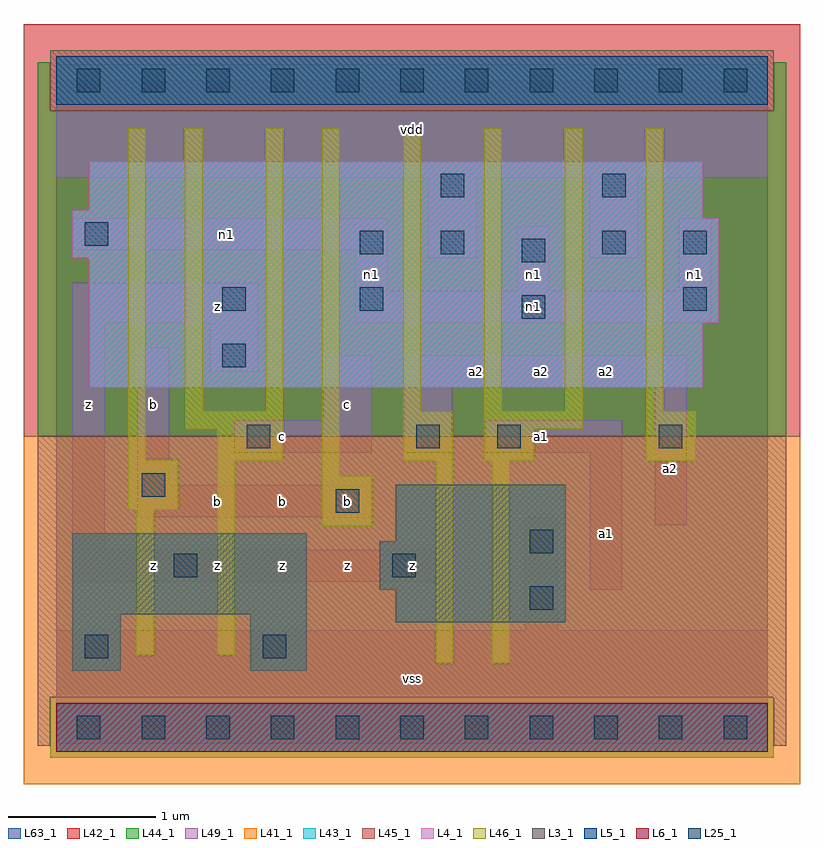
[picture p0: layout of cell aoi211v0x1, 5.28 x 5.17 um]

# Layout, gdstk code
import gdstk
lib = gdstk.Library(unit=1e-6, precision=1e-09)
def R(c, l, rs):  # rectangles x0, y0, x1, y1
    for r in rs: c.add(gdstk.rectangle(r[:2], r[2:], *l))
def A(c, l, x, y, w, h, nx, ny, dx, dy):  # array of equal rectangles
    R(c, l, [(x+i*dx, y+j*dy, x+i*dx+w, y+j*dy+h) for i in range(nx) for j in range(ny)])
L3_1 = (3, 1)
L4_1 = (4, 1)
L5_1 = (5, 1)
L6_1 = (6, 1)
L25_1 = (25, 1)
L41_1 = (41, 1)
L42_1 = (42, 1)
L43_1 = (43, 1)
L44_1 = (44, 1)
L45_1 = (45, 1)
L46_1 = (46, 1)
L49_1 = (49, 1)
L63_1 = (63, 1)

aoi211v0x1 = lib.new_cell('aoi211v0x1')
R(aoi211v0x1, L3_1, [(0.11,0.385,0.44,0.77), (1.32,0.385,1.705,0.77), (2.31,0.715,3.465,0.935), (0.11,0.77,1.705,1.32), (2.2,0.935,3.465,1.265), (2.31,1.265,3.465,1.65)])
R(aoi211v0x1, L4_1, [(0.22,2.31,4.4,2.75), (0.22,2.75,4.51,3.19), (0.11,3.19,4.51,3.465), (0.11,3.465,4.4,3.52), (0.22,3.52,4.4,3.85)])
R(aoi211v0x1, L5_1, [(0,4.235,4.84,4.565)])
R(aoi211v0x1, L6_1, [(0,-0.165,4.84,0.165)])
A(aoi211v0x1, L25_1, 0.14, -0.08, 0.16, 0.16, 11, 2, 0.44, 4.4)
R(aoi211v0x1, L25_1, [(0.195,0.47,0.355,0.63), (1.405,0.47,1.565,0.63), (3.22,0.8,3.38,0.96), (0.8,1.02,0.96,1.18), (2.285,1.02,2.445,1.18), (3.22,1.185,3.38,1.345), (1.9,1.46,2.06,1.62), (0.58,1.57,0.74,1.73), (1.295,1.9,1.455,2.06), (2.45,1.9,2.61,2.06), (3,1.9,3.16,2.06), (4.1,1.9,4.26,2.06), (1.13,2.45,1.29,2.61), (3.165,2.78,3.325,2.94), (1.13,2.835,1.29,2.995), (2.065,2.835,2.225,2.995), (4.265,2.835,4.425,2.995), (3.165,3.165,3.325,3.325), (2.065,3.22,2.225,3.38), (2.615,3.22,2.775,3.38), (3.715,3.22,3.875,3.38), (4.265,3.22,4.425,3.38), (0.195,3.275,0.355,3.435), (2.615,3.605,2.775,3.765), (3.715,3.605,3.875,3.765)])
R(aoi211v0x1, L41_1, [(-0.22,-0.385,5.06,1.98)])
R(aoi211v0x1, L42_1, [(-0.22,1.98,5.06,4.785)])
R(aoi211v0x1, L43_1, [(0,-0.165,4.84,0.165), (0.11,0.385,0.44,0.77), (1.32,0.385,1.705,0.77), (2.31,0.715,3.465,0.935), (0.11,0.77,1.705,1.32), (2.2,0.935,3.465,1.265), (2.31,1.265,3.465,1.65), (0.22,2.31,4.4,2.75), (0.22,2.75,4.51,3.19), (0.11,3.19,4.51,3.465), (0.11,3.465,4.4,3.52), (0.22,3.52,4.4,3.85), (0,4.235,4.84,4.565)])
R(aoi211v0x1, L44_1, [(-0.04,-0.205,4.88,0.205), (-0.125,1.98,4.965,4.195), (-0.125,4.195,-0.04,4.525), (4.88,4.195,4.965,4.525)])
R(aoi211v0x1, L45_1, [(-0.125,-0.125,-0.04,0.205), (4.88,-0.125,4.965,0.205), (-0.125,0.205,4.965,1.98), (-0.04,4.195,4.88,4.605)])
A(aoi211v0x1, L46_1, 2.36, 2.15, 0.12, 1.925, 4, 1, 0.55, 0)
R(aoi211v0x1, L46_1, [(2.58,0.435,2.7,1.81), (2.965,0.435,3.085,1.81), (0.545,0.49,0.665,1.48), (1.095,0.49,1.215,1.81), (1.81,1.37,2.15,1.71), (0.49,1.48,0.83,1.82), (1.81,1.71,1.93,4.075), (1.095,1.81,1.545,2.03), (2.36,1.81,2.7,2.15), (2.91,1.81,3.25,2.03), (4.01,1.81,4.35,2.15), (0.49,1.82,0.61,4.075), (0.875,2.03,1.545,2.15), (2.91,2.03,3.58,2.15), (0.875,2.15,0.995,4.075), (1.425,2.15,1.545,4.075)])
R(aoi211v0x1, L49_1, [(0,-0.11,4.84,0.66), (3.19,0.66,3.41,1.43), (3.63,0.935,3.85,1.87), (0.11,0.99,2.585,1.21), (0.11,1.21,0.33,2.75), (4.07,1.375,4.29,2.31), (0.55,1.43,2.145,1.65), (0.55,1.65,0.77,2.585), (1.21,1.87,2.145,2.09), (2.365,1.87,2.695,2.31), (2.915,1.87,3.85,2.09), (1.815,2.09,2.145,2.53), (2.365,2.31,4.29,2.53), (1.045,2.42,1.375,2.75), (0.11,2.75,1.375,3.025), (2.035,2.75,4.455,2.97), (2.035,2.97,2.255,3.245), (3.135,2.97,3.355,3.41), (4.235,2.97,4.455,3.465), (2.53,3.19,2.86,3.74), (3.63,3.19,3.96,3.74), (0.11,3.245,2.255,3.465), (0,3.74,4.84,4.51)])
R(aoi211v0x1, L63_1, [(0,0,4.84,4.4)])
aoi211v0x1.add(gdstk.Label('z', (0.66,1.1), layer=49, texttype=1))
aoi211v0x1.add(gdstk.Label('z', (0.22,2.2), layer=49, texttype=1))
aoi211v0x1.add(gdstk.Label('b', (0.66,2.2), layer=49, texttype=1))
aoi211v0x1.add(gdstk.Label('z', (1.1,1.1), layer=49, texttype=1))
aoi211v0x1.add(gdstk.Label('b', (1.1,1.54), layer=49, texttype=1))
aoi211v0x1.add(gdstk.Label('z', (1.54,1.1), layer=49, texttype=1))
aoi211v0x1.add(gdstk.Label('b', (1.54,1.54), layer=49, texttype=1))
aoi211v0x1.add(gdstk.Label('c', (1.54,1.98), layer=49, texttype=1))
aoi211v0x1.add(gdstk.Label('z', (1.1,2.86), layer=49, texttype=1))
aoi211v0x1.add(gdstk.Label('vss', (2.42,0.33), layer=49, texttype=1))
aoi211v0x1.add(gdstk.Label('z', (1.98,1.1), layer=49, texttype=1))
aoi211v0x1.add(gdstk.Label('b', (1.98,1.54), layer=49, texttype=1))
aoi211v0x1.add(gdstk.Label('z', (2.42,1.1), layer=49, texttype=1))
aoi211v0x1.add(gdstk.Label('c', (1.98,2.2), layer=49, texttype=1))
aoi211v0x1.add(gdstk.Label('n1', (2.145,3.08), layer=49, texttype=1))
aoi211v0x1.add(gdstk.Label('n1', (1.155,3.355), layer=49, texttype=1))
aoi211v0x1.add(gdstk.Label('vdd', (2.42,4.07), layer=49, texttype=1))
aoi211v0x1.add(gdstk.Label('a1', (3.74,1.32), layer=49, texttype=1))
aoi211v0x1.add(gdstk.Label('a2', (2.86,2.42), layer=49, texttype=1))
aoi211v0x1.add(gdstk.Label('a1', (3.3,1.98), layer=49, texttype=1))
aoi211v0x1.add(gdstk.Label('a2', (3.3,2.42), layer=49, texttype=1))
aoi211v0x1.add(gdstk.Label('a2', (3.74,2.42), layer=49, texttype=1))
aoi211v0x1.add(gdstk.Label('n1', (3.245,3.08), layer=49, texttype=1))
aoi211v0x1.add(gdstk.Label('a2', (4.18,1.76), layer=49, texttype=1))
aoi211v0x1.add(gdstk.Label('n1', (4.345,3.08), layer=49, texttype=1))
aoi211v0x1.add(gdstk.Label('n1', (3.245,2.86), layer=49, texttype=1))

lib.write_gds('aoi211v0x1.gds')
